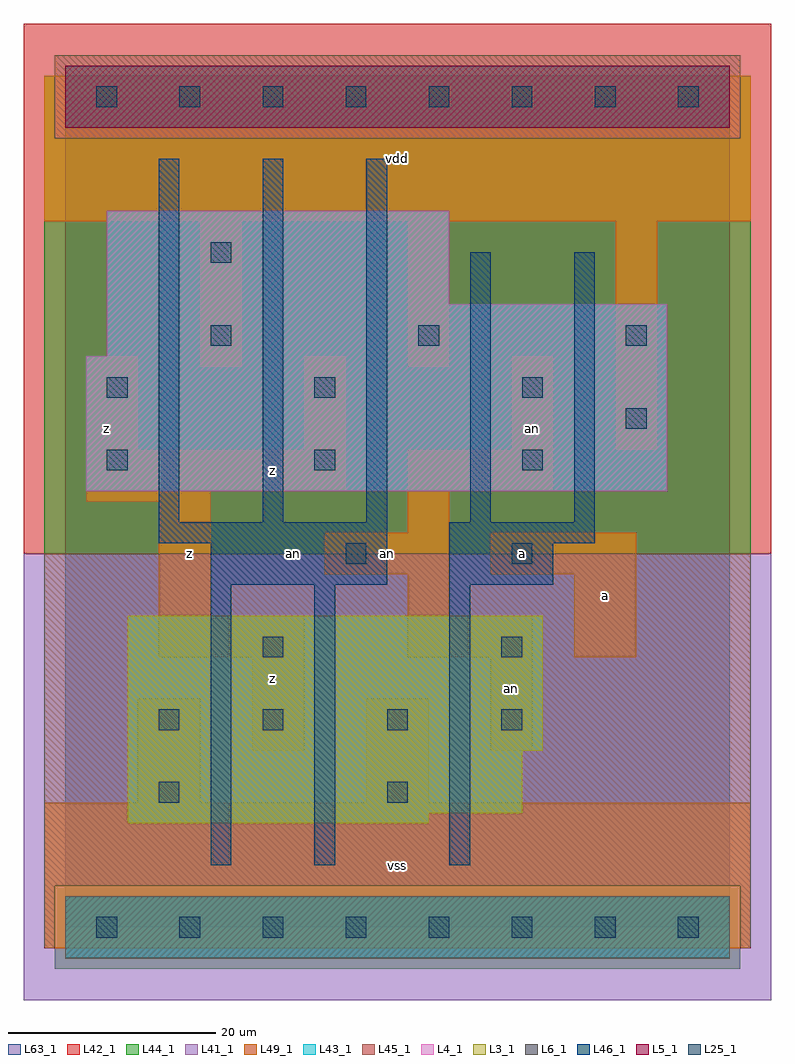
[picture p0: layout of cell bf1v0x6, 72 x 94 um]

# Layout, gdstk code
import gdstk
lib = gdstk.Library(unit=1e-6, precision=1e-09)
def R(c, l, rs):  # rectangles x0, y0, x1, y1
    for r in rs: c.add(gdstk.rectangle(r[:2], r[2:], *l))
def A(c, l, x, y, w, h, nx, ny, dx, dy):  # array of equal rectangles
    R(c, l, [(x+i*dx, y+j*dy, x+i*dx+w, y+j*dy+h) for i in range(nx) for j in range(ny)])
L3_1 = (3, 1)
L4_1 = (4, 1)
L5_1 = (5, 1)
L6_1 = (6, 1)
L25_1 = (25, 1)
L41_1 = (41, 1)
L42_1 = (42, 1)
L43_1 = (43, 1)
L44_1 = (44, 1)
L45_1 = (45, 1)
L46_1 = (46, 1)
L49_1 = (49, 1)
L63_1 = (63, 1)

bf1v0x6 = lib.new_cell('bf1v0x6')
R(bf1v0x6, L3_1, [(6,10,35,11), (6,11,44,17), (6,17,46,30)])
R(bf1v0x6, L4_1, [(2,42,58,55), (4,55,58,60), (4,60,37,69)])
R(bf1v0x6, L5_1, [(0,77,64,83)])
R(bf1v0x6, L6_1, [(0,-3,64,3), (0,-3,64,3)])
A(bf1v0x6, L25_1, 3, -1, 2, 2, 8, 2, 8, 80)
A(bf1v0x6, L25_1, 4, 44, 2, 2, 3, 2, 20, 7)
A(bf1v0x6, L25_1, 14, 56, 2, 2, 3, 1, 20, 0)
R(bf1v0x6, L25_1, [(9,12,11,14), (31,12,33,14), (9,19,11,21), (19,19,21,21), (31,19,33,21), (42,19,44,21), (19,26,21,28), (42,26,44,28), (27,35,29,37), (43,35,45,37), (54,48,56,50), (14,64,16,66)])
R(bf1v0x6, L41_1, [(-4,-7,68,36)])
R(bf1v0x6, L42_1, [(-4,36,68,87)])
R(bf1v0x6, L43_1, [(0,-3,64,3), (6,10,35,11), (6,11,44,17), (6,17,46,30), (2,42,58,55), (4,55,58,60), (4,60,37,69), (0,77,64,83)])
R(bf1v0x6, L44_1, [(-1,-4,65,4), (-2,36,66,76), (-2,76,-1,82), (65,76,66,82)])
R(bf1v0x6, L45_1, [(-2,-2,-1,4), (65,-2,66,4), (-2,4,66,36), (-1,76,65,84)])
A(bf1v0x6, L46_1, 9, 39, 2, 35, 3, 1, 10, 0)
R(bf1v0x6, L46_1, [(14,6,16,33), (24,6,26,33), (37,6,39,33), (14,33,31,37), (37,33,47,37), (9,37,31,39), (37,37,51,39), (39,39,41,65), (49,39,51,65)])
R(bf1v0x6, L49_1, [(-2,-2,66,12), (7,12,13,22), (29,12,35,22), (18,17,23,26), (41,17,45,26), (9,26,23,30), (33,26,45,30), (49,26,55,34), (9,30,14,41), (33,30,37,34), (25,34,37,38), (41,34,55,38), (33,38,37,42), (2,41,14,42), (2,42,27,46), (33,42,47,46), (2,46,7,55), (23,46,27,55), (43,46,47,55), (53,46,57,68), (13,54,17,68), (33,54,37,68), (-2,68,66,82)])
R(bf1v0x6, L63_1, [(0,0,64,80)])
bf1v0x6.add(gdstk.Label('an', (22,36), layer=46, texttype=1))
bf1v0x6.add(gdstk.Label('z', (12,36), layer=49, texttype=1))
bf1v0x6.add(gdstk.Label('z', (4,48), layer=49, texttype=1))
bf1v0x6.add(gdstk.Label('z', (20,24), layer=49, texttype=1))
bf1v0x6.add(gdstk.Label('z', (20,44), layer=49, texttype=1))
bf1v0x6.add(gdstk.Label('vss', (32,6), layer=49, texttype=1))
bf1v0x6.add(gdstk.Label('an', (43,23), layer=49, texttype=1))
bf1v0x6.add(gdstk.Label('an', (31,36), layer=49, texttype=1))
bf1v0x6.add(gdstk.Label('a', (44,36), layer=49, texttype=1))
bf1v0x6.add(gdstk.Label('an', (45,48), layer=49, texttype=1))
bf1v0x6.add(gdstk.Label('vdd', (32,74), layer=49, texttype=1))
bf1v0x6.add(gdstk.Label('a', (52,32), layer=49, texttype=1))

lib.write_gds('bf1v0x6.gds')
